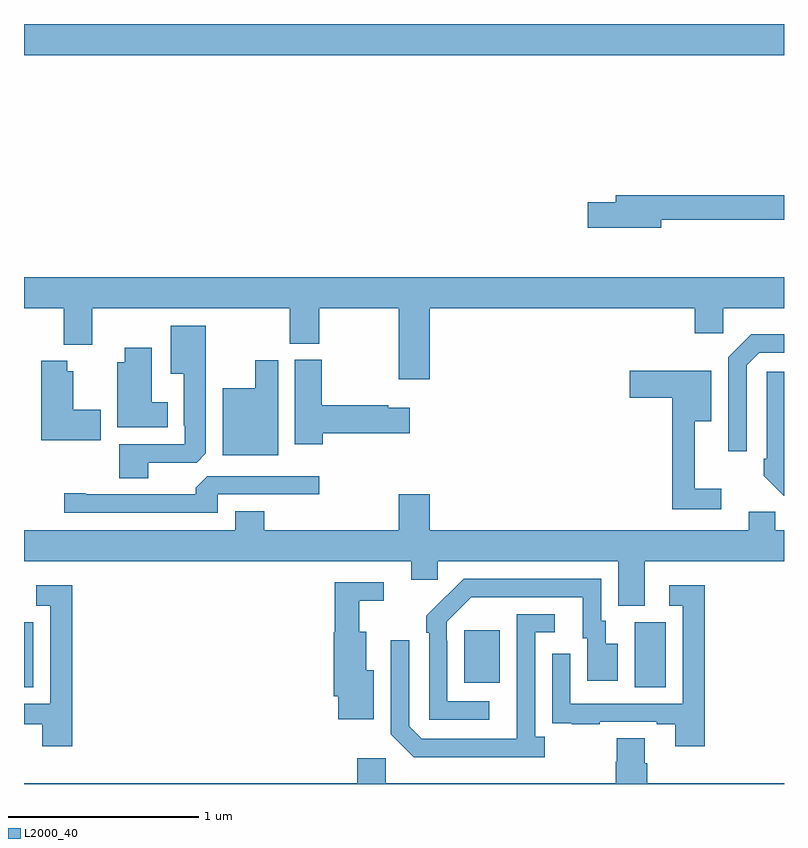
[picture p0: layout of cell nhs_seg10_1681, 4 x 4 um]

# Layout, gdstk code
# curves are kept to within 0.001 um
import gdstk
lib = gdstk.Library(unit=1e-6, precision=1e-09)
def R(c, l, rs):  # rectangles x0, y0, x1, y1
    for r in rs: c.add(gdstk.rectangle(r[:2], r[2:], *l))
def P(c, l, *ps):  # polygons
    for p in ps: c.add(gdstk.Polygon(p, *l))
L2000_40 = (2000, 40)

nhs_seg10_1681 = lib.new_cell('nhs_seg10_1681')
R(nhs_seg10_1681, L2000_40, [(199,1277.008,199.048,1277.352), (202.214,1277.008,202.378,1277.352), (201.317,1277.033,201.505,1277.308), (199,1280.336,203,1280.5)])
P(nhs_seg10_1681, L2000_40, [(202.354,1279.47),(203,1279.47),(203,1279.598),(202.115,1279.598),(202.115,1279.562),(201.966,1279.562),(201.966,1279.427),(202.354,1279.427)],
  [(199,1279.004),(199.208,1279.004),(199.208,1278.812),(199.36,1278.812),(199.36,1279.004),(200.398,1279.004),(200.398,1278.817),(200.553,1278.817),(200.553,1279.004),(200.972,1279.004),(200.972,1278.63),(201.136,1278.63),(201.136,1279.004),(202.529,1279.004),(202.529,1278.873),(202.68,1278.873),(202.68,1279.004),(203,1279.004),(203,1279.168),(199,1279.168)],
  [(199.654,1278.192),(199.908,1278.192),(199.957,1278.241),(199.957,1278.913),(199.772,1278.913),(199.772,1278.659),(199.841,1278.659),(199.841,1278.385),(199.845,1278.385),(199.845,1278.288),(199.502,1278.288),(199.502,1278.109),(199.654,1278.109)],
  [(202.803,1278.705),(202.869,1278.771),(203,1278.771),(203,1278.868),(202.828,1278.868),(202.707,1278.747),(202.707,1278.252),(202.803,1278.252)],
  [(199.756,1278.508),(199.672,1278.508),(199.672,1278.796),(199.529,1278.796),(199.529,1278.721),(199.49,1278.721),(199.49,1278.377),(199.756,1278.377)],
  [(200.573,1278.347),(201.031,1278.347),(201.031,1278.481),(200.918,1278.481),(200.918,1278.494),(200.568,1278.494),(200.568,1278.732),(200.426,1278.732),(200.426,1278.288),(200.573,1278.288)],
  [(200.338,1278.73),(200.216,1278.73),(200.216,1278.583),(200.045,1278.583),(200.045,1278.23),(200.338,1278.23)],
  [(199.405,1278.471),(199.258,1278.471),(199.258,1278.673),(199.228,1278.673),(199.228,1278.727),(199.091,1278.727),(199.091,1278.308),(199.405,1278.308)],
  [(202.669,1278.055),(202.529,1278.055),(202.529,1278.41),(202.618,1278.41),(202.618,1278.675),(202.188,1278.675),(202.188,1278.533),(202.411,1278.533),(202.411,1277.946),(202.669,1277.946)],
  [(203,1278.669),(202.908,1278.669),(202.908,1278.211),(202.893,1278.211),(202.893,1278.123),(202.998,1278.018),(202.999,1278.019),(203,1278.018)],
  [(200.019,1278.024),(200.554,1278.024),(200.554,1278.12),(199.965,1278.12),(199.904,1278.058),(199.904,1278.024),(199.324,1278.024),(199.324,1278.029),(199.212,1278.029),(199.212,1277.928),(200.019,1277.928)],
  [(202.267,1277.672),(203,1277.672),(203,1277.836),(202.953,1277.836),(202.953,1277.934),(202.814,1277.934),(202.814,1277.836),(201.136,1277.836),(201.136,1278.025),(200.972,1278.025),(200.972,1277.836),(200.264,1277.836),(200.264,1277.935),(200.111,1277.935),(200.111,1277.836),(199,1277.836),(199,1277.672),(201.038,1277.672),(201.038,1277.574),(201.177,1277.574),(201.177,1277.672),(202.127,1277.672),(202.127,1277.437),(202.267,1277.437)],
  [(201.448,1276.935),(201.228,1276.935),(201.228,1277.255),(201.225,1277.255),(201.225,1277.355),(201.354,1277.484),(201.941,1277.484),(201.941,1277.268),(201.965,1277.268),(201.965,1277.043),(202.126,1277.043),(202.126,1277.239),(202.063,1277.239),(202.063,1277.358),(202.038,1277.358),(202.038,1277.58),(201.314,1277.58),(201.117,1277.385),(201.117,1277.297),(201.132,1277.297),(201.132,1276.839),(201.448,1276.839)],
  [(200.842,1277.098),(200.8,1277.098),(200.8,1277.302),(200.764,1277.302),(200.764,1277.465),(200.893,1277.465),(200.893,1277.562),(200.635,1277.562),(200.635,1277.298),(200.63,1277.298),(200.63,1276.962),(200.654,1276.962),(200.654,1276.841),(200.842,1276.841)],
  [(202.583,1277.545),(202.395,1277.545),(202.395,1277.439),(202.467,1277.439),(202.467,1276.923),(201.876,1276.923),(201.876,1277.185),(201.78,1277.185),(201.78,1276.93),(201.781,1276.93),(201.781,1276.821),(201.883,1276.821),(201.883,1276.815),(202.031,1276.815),(202.031,1276.827),(202.331,1276.827),(202.331,1276.815),(202.427,1276.815),(202.427,1276.698),(202.583,1276.698)],
  [(199.253,1277.545),(199.065,1277.545),(199.065,1277.439),(199.137,1277.439),(199.137,1276.923),(199,1276.923),(199,1276.827),(199.001,1276.827),(199.001,1276.815),(199.097,1276.815),(199.097,1276.698),(199.253,1276.698)],
  [(201.742,1276.75),(201.69,1276.75),(201.69,1277.298),(201.793,1277.298),(201.793,1277.394),(201.594,1277.394),(201.593,1276.737),(201.093,1276.737),(201.027,1276.803),(201.027,1277.257),(200.931,1277.257),(200.931,1276.761),(201.052,1276.64),(201.742,1276.64)],
  [(203,1276.504),(202.28,1276.504),(202.28,1276.61),(202.267,1276.61),(202.267,1276.742),(202.12,1276.742),(202.12,1276.617),(202.115,1276.617),(202.115,1276.504),(200.904,1276.504),(200.904,1276.636),(200.753,1276.636),(200.753,1276.504),(199,1276.504),(199,1276.5),(203,1276.5)])

lib.write_gds('nhs_seg10_1681.gds')
